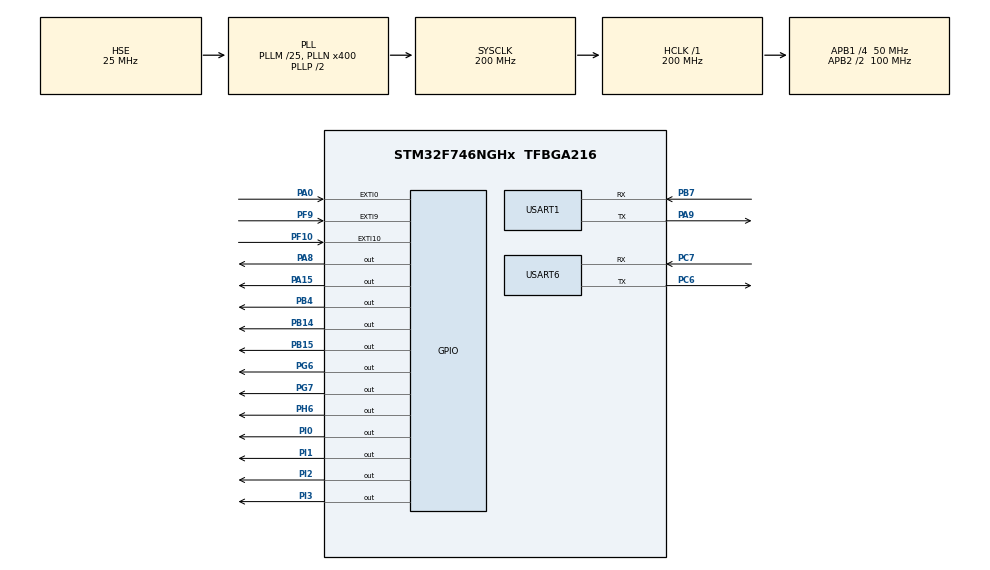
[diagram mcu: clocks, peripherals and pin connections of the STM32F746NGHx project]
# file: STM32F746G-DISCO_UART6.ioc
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CORTEX_M7.ART_ACCLERATOR_ENABLE=0
CORTEX_M7.CPU_DCache=Disabled
CORTEX_M7.CPU_ICache=Disabled
CORTEX_M7.PREFETCH_ENABLE=0
Mcu.Family=STM32F7
Mcu.Name=STM32F746NGHx
Mcu.Package=TFBGA216
NVIC.EXTI0_IRQn=true\:0\:0\:false\:false\:true\:true\:true
NVIC.EXTI15_10_IRQn=true\:0\:0\:false\:false\:true\:true\:true
NVIC.EXTI9_5_IRQn=true\:0\:0\:false\:false\:true\:true\:true
NVIC.PriorityGroup=NVIC_PRIORITYGROUP_4
NVIC.RCC_IRQn=true\:0\:0\:false\:false\:true\:true\:false
NVIC.TIM3_IRQn=true\:0\:0\:false\:false\:true\:true\:true
NVIC.USART1_IRQn=true\:0\:0\:false\:false\:true\:true\:true
NVIC.USART6_IRQn=true\:0\:0\:false\:false\:true\:true\:true
PA0/WKUP.GPIO_PuPd=GPIO_PULLDOWN
PA0/WKUP.Signal=GPXTI0
PA13.Mode=Serial_Wire
PA13.Signal=SYS_JTMS-SWDIO
PA14.Mode=Serial_Wire
PA14.Signal=SYS_JTCK-SWCLK
PA15.Signal=GPIO_Output
PA8.Signal=GPIO_Output
PA9.Mode=Asynchronous
PA9.Signal=USART1_TX
PB14.Signal=GPIO_Output
PB15.Signal=GPIO_Output
PB4.Signal=GPIO_Output
PB7.Mode=Asynchronous
PB7.Signal=USART1_RX
PC6.Mode=Asynchronous
PC6.Signal=USART6_TX
PC7.Mode=Asynchronous
PC7.Signal=USART6_RX
PF10.GPIO_PuPd=GPIO_PULLDOWN
PF10.Signal=GPXTI10
PF9.GPIO_PuPd=GPIO_PULLDOWN
PF9.Signal=GPXTI9
PG6.Signal=GPIO_Output
PG7.Signal=GPIO_Output
PH0/OSC_IN.Mode=HSE-External-Oscillator
PH0/OSC_IN.Signal=RCC_OSC_IN
PH1/OSC_OUT.Mode=HSE-External-Oscillator
PH1/OSC_OUT.Signal=RCC_OSC_OUT
PH6.Signal=GPIO_Output
PI0.Signal=GPIO_Output
PI1.Signal=GPIO_Output
PI2.Signal=GPIO_Output
PI3.Signal=GPIO_Output
ProjectManager.HeapSize=0x200
ProjectManager.StackSize=0x400
ProjectManager.TargetToolchain=STM32CubeIDE
RCC.AHBFreq_Value=200000000
RCC.APB1CLKDivider=RCC_HCLK_DIV4
RCC.APB1Freq_Value=50000000
RCC.APB1TimFreq_Value=100000000
RCC.APB2CLKDivider=RCC_HCLK_DIV2
RCC.APB2Freq_Value=100000000
RCC.APB2TimFreq_Value=200000000
RCC.CortexFreq_Value=200000000
RCC.HCLKFreq_Value=200000000
RCC.HSE_VALUE=25000000
RCC.HSI_VALUE=16000000
RCC.PLL48CLockSelection=RCC_CLK48SOURCE_PLLSAIP
RCC.PLLI2SN=100
RCC.PLLM=25
RCC.PLLN=400
RCC.PLLQ=9
RCC.PLLSAIN=384
RCC.PLLSAIP=RCC_PLLSAIP_DIV8
RCC.PLLSAIR=5
RCC.PLLSAIRDiv=RCC_PLLSAIDIVR_8
RCC.PLLSourceVirtual=RCC_PLLSOURCE_HSE
RCC.SDMMCClockSelection=RCC_SDMMC1CLKSOURCE_CLK48
RCC.SYSCLKFreq_VALUE=200000000
RCC.SYSCLKSource=RCC_SYSCLKSOURCE_PLLCLK
RCC.USBFreq_Value=48000000
RCC.VCOOutputFreq_Value=400000000
TIM3.Period=9999
TIM3.Prescaler=9999
USART1.VirtualMode-Asynchronous=VM_ASYNC
USART6.VirtualMode-Asynchronous=VM_ASYNC
VP_TIM3_VS_ClockSourceINT.Mode=Internal
board=STM32F746G-DISCO

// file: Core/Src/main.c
/* USER CODE BEGIN Header */
/**
  ******************************************************************************
  * @file           : main.c
  * @brief          : Main program body
  ******************************************************************************
  * @attention
  *
  * <h2><center>&copy; Copyright (c) 2021 STMicroelectronics.
  * All rights reserved.</center></h2>
  *
  * This software component is licensed by ST under Ultimate Liberty license
  * SLA0044, the "License"; You may not use this file except in compliance with
  * the License. You may obtain a copy of the License at:
  *                             www.st.com/SLA0044
  *
  ******************************************************************************
  */
/* USER CODE END Header */
#include "main.h"
#include <stdio.h>

TIM_HandleTypeDef htim3;

UART_HandleTypeDef huart1;
UART_HandleTypeDef huart6;

/* USER CODE BEGIN PV */
uint8_t rx1_data;
uint8_t rx6_data;
unsigned char UART_Text_Input[7] = "Input: ";
unsigned char UART6_Text_Input[8] = "Input6: ";
unsigned char UART_Text_Time[7] = "Time: ";
unsigned char UART_Text_Error[5] = "ERROR";
unsigned char UART1_Text_Start[59] = "This is Uart 1\n\r";
unsigned char UART6_Text_Start[59] = "This is Uart 6\n\r";
unsigned char Enter[2] = "\n\r";
/* USER CODE END PV */

void SystemClock_Config(void);
static void MX_GPIO_Init(void);
static void MX_TIM3_Init(void);
static void MX_USART1_UART_Init(void);
static void MX_USART6_UART_Init(void);

/* USER CODE BEGIN 0 */
unsigned int Loop_Count = 0;
unsigned char Arduino_Time_Count = 0;
void Int_To_Str(int num, unsigned char *data);
unsigned char UART1_Input = 0;
unsigned char UART6_Input = 0; // 인터럽트 입력 여부 구별
unsigned short input = 0; //인풋///////////////////////////////////////////////////////////////////
unsigned char addr[4] = { 0, 0, 0, 0 };

void Line_Change1(void) {
	for(int i = 0; i<3; i++){
		HAL_UART_Transmit(&huart1, &Enter[i], 1, 10);
	}

}

void Line_Change6(void) {
	for(int i = 0; i<3; i++){
		HAL_UART_Transmit(&huart6, &Enter[i], 1, 10);
	}

}

void UART6_Start(void) {
	for (int i = 0; i <16; i++) {
		HAL_UART_Transmit(&huart6, &UART6_Text_Start[i], 1, 10);
	}
	Line_Change6();
}
void UART1_Start(void) {
	for (int i = 0; i <16; i++) {
		HAL_UART_Transmit(&huart1, &UART1_Text_Start[i], 1, 10);
	}
	Line_Change1();
}

void UART6_Print() {
/*
	for (int i = 0; i < 7; i++) {//uart6 input 출력
		HAL_UART_Transmit(&huart6, &UART_Text_Input[i], 1, 10);
	}
	HAL_UART_Transmit(&huart6, &rx6_data, 1, 10);
	Line_Change6();
*/

	for (int i = 0; i < 8; i++) {//uart6 입력 uart1 에 출력
		HAL_UART_Transmit(&huart1, &UART6_Text_Input[i], 1, 10);
	}
	HAL_UART_Transmit(&huart1, &rx6_data, 1, 10);
	Line_Change1();

}

void UART1_Print() {
	if (rx1_data == 84 || rx1_data == 116) { //UART 입력이 T 또는 t인경우 실행
		for (int i = 0; i < 7; i++) {
			HAL_UART_Transmit(&huart1, &UART_Text_Input[i], 1, 10);
		}
		HAL_UART_Transmit(&huart1, &rx1_data, 1, 10);
		Line_Change1();

		for (int i = 0; i < 7; i++) {
			HAL_UART_Transmit(&huart1, &UART_Text_Time[i], 1, 10);
		}

		unsigned char tmplist[4];

		for (int i = 0; i < 4; i++) {
			tmplist[i] = addr[i] + 48;
			HAL_UART_Transmit(&huart1, &tmplist[i], 1, 10);
		}
		Line_Change1();

	} else {
		for (int i = 0; i < 7; i++) {
			HAL_UART_Transmit(&huart1, &UART_Text_Input[i], 1, 10);
		}
		HAL_UART_Transmit(&huart1, &rx1_data, 1, 10);
		Line_Change1();
	}

}

void UART6_Call_Arduino() {

	if (Arduino_Time_Count == 10){
		HAL_GPIO_WritePin(GPIOI, GPIO_PIN_1, 1);
		HAL_UART_Transmit(&huart6, &"h", 1, 10);
		Line_Change6();
		HAL_Delay(1);

		HAL_GPIO_WritePin(GPIOI, GPIO_PIN_1, 0);
		Arduino_Time_Count = Arduino_Time_Count + 1;
	}

	if (Arduino_Time_Count == 20){
		HAL_GPIO_WritePin(GPIOI, GPIO_PIN_1, 1);
		HAL_UART_Transmit(&huart6, &"d", 1, 10);
		Line_Change6();
		HAL_Delay(1);
		HAL_GPIO_WritePin(GPIOI, GPIO_PIN_1, 0);
		Arduino_Time_Count = Arduino_Time_Count + 1;
	}

	if (Arduino_Time_Count == 30){
		HAL_GPIO_WritePin(GPIOI, GPIO_PIN_1, 1);
		HAL_UART_Transmit(&huart6, &"t", 1, 10);
		Line_Change6();
		HAL_Delay(1);
		HAL_GPIO_WritePin(GPIOI, GPIO_PIN_1, 0);
		Arduino_Time_Count = Arduino_Time_Count + 1;
	}

	if (Arduino_Time_Count == 40){
		HAL_GPIO_WritePin(GPIOI, GPIO_PIN_1, 1);
		HAL_UART_Transmit(&huart6, &"c", 1, 10);
		Line_Change6();
		HAL_Delay(1);
		HAL_GPIO_WritePin(GPIOI, GPIO_PIN_1, 0);
		Arduino_Time_Count = 0;
	}

}

int rcnt;
void HAL_UART_RxCpltCallback(UART_HandleTypeDef *huart) {
	if (huart->Instance == USART1) {
		HAL_UART_Receive_IT(&huart1, &rx1_data, 1);
		UART1_Input = 1;

	}

	if (huart->Instance == USART6) {
		HAL_UART_Receive_IT(&huart6, &rx6_data, 1);
		//HAL_UART_Transmit(&huart1, &rx6_data, 1, 10);
		UART6_Input = 1;
		rcnt++;
	}

}

void HAL_TIM_PeriodElapsedCallback(TIM_HandleTypeDef *htim) //타이머 인터럽트 코드
{
	if (htim->Instance == TIM3) {

		input = input + 1;
		Arduino_Time_Count = Arduino_Time_Count + 1;
	}
}

void Num_Select(unsigned char PrintNumx16) {
	if (PrintNumx16 & 0x40) {
		HAL_GPIO_WritePin(GPIOI, GPIO_PIN_2, 1);
	} else {
		HAL_GPIO_WritePin(GPIOI, GPIO_PIN_2, 0);
	}
	if (PrintNumx16 & 0x20) {
		HAL_GPIO_WritePin(GPIOI, GPIO_PIN_3, 1);
	} else {
		HAL_GPIO_WritePin(GPIOI, GPIO_PIN_3, 0);
	}
	if (PrintNumx16 & 0x10) {
		HAL_GPIO_WritePin(GPIOH, GPIO_PIN_6, 1);
	} else {
		HAL_GPIO_WritePin(GPIOH, GPIO_PIN_6, 0);
	}
	if (PrintNumx16 & 0x08) {
		HAL_GPIO_WritePin(GPIOI, GPIO_PIN_0, 1);
	} else {
		HAL_GPIO_WritePin(GPIOI, GPIO_PIN_0, 0);
	}
	if (PrintNumx16 & 0x04) {
		HAL_GPIO_WritePin(GPIOG, GPIO_PIN_7, 1);
	} else {
		HAL_GPIO_WritePin(GPIOG, GPIO_PIN_7, 0);
	}
	if (PrintNumx16 & 0x02) {
		HAL_GPIO_WritePin(GPIOB, GPIO_PIN_4, 1);
	} else {
		HAL_GPIO_WritePin(GPIOB, GPIO_PIN_4, 0);
	}
	if (PrintNumx16 & 0x01) {
		HAL_GPIO_WritePin(GPIOG, GPIO_PIN_6, 1);
	} else {
		HAL_GPIO_WritePin(GPIOG, GPIO_PIN_6, 0);
	}

}

void Segment_Select(unsigned char SegmentNumx16, unsigned char PrintNumx16) {
	//출력할 세그먼트 결정

	if (SegmentNumx16 & 0x08) {
		HAL_GPIO_WritePin(GPIOB, GPIO_PIN_14, 1);
	} else {
		HAL_GPIO_WritePin(GPIOB, GPIO_PIN_14, 0);
	}
	if (SegmentNumx16 & 0x04) {
		HAL_GPIO_WritePin(GPIOB, GPIO_PIN_15, 1);
	} else {
		HAL_GPIO_WritePin(GPIOB, GPIO_PIN_15, 0);
	}
	if (SegmentNumx16 & 0x02) {
		HAL_GPIO_WritePin(GPIOA, GPIO_PIN_8, 1);
	} else {
		HAL_GPIO_WritePin(GPIOA, GPIO_PIN_8, 0);
	}
	if (SegmentNumx16 & 0x01) {
		HAL_GPIO_WritePin(GPIOA, GPIO_PIN_15, 1);
	} else {
		HAL_GPIO_WritePin(GPIOA, GPIO_PIN_15, 0);
	}
	Num_Select(PrintNumx16);

}

void Segment_Test(unsigned short delaytime) {
	HAL_GPIO_WritePin(GPIOA, GPIO_PIN_15, 1);
	HAL_Delay(delaytime);
	HAL_GPIO_WritePin(GPIOA, GPIO_PIN_15, 0);
	HAL_GPIO_WritePin(GPIOA, GPIO_PIN_8, 1);
	HAL_Delay(delaytime);
	HAL_GPIO_WritePin(GPIOA, GPIO_PIN_8, 0);
	HAL_GPIO_WritePin(GPIOB, GPIO_PIN_15, 1);
	HAL_Delay(delaytime);
	HAL_GPIO_WritePin(GPIOB, GPIO_PIN_15, 0);
	HAL_GPIO_WritePin(GPIOB, GPIO_PIN_14, 1);
	HAL_Delay(delaytime);
	HAL_GPIO_WritePin(GPIOB, GPIO_PIN_14, 0);

}
int _write(int file, char *p, int len) { //printf 사용시 실행
	HAL_UART_Transmit(&huart1, p, len, 100);
	return len;
}
/* USER CODE END 0 */

int main(void)
{

  /* Enable I-Cache---------------------------------------------------------*/
  SCB_EnableICache();

  /* Enable D-Cache---------------------------------------------------------*/
  SCB_EnableDCache();

  /* MCU Configuration--------------------------------------------------------*/

  /* Reset of all peripherals, Initializes the Flash interface and the Systick. */
  HAL_Init();

  /* Configure the system clock */
  SystemClock_Config();

  /* Initialize all configured peripherals */
  MX_GPIO_Init();
  MX_TIM3_Init();
  MX_USART1_UART_Init();
  MX_USART6_UART_Init();
  /* USER CODE BEGIN 2 */
  HAL_TIM_Base_Start_IT(&htim3); // 타이머 인터럽트 시작 디버그 할경우 주석처리 해야함
  HAL_UART_Receive_IT(&huart6, &rx6_data, 1); // UART인터럽트 한바이트 들어오면 시작
  HAL_UART_Receive_IT(&huart1, &rx1_data, 1); // UART인터럽트 한바이트 들어오면 시작
  unsigned char List_Of_Segments[4] = { 0x01, 0x02, 0x04, 0x08 };
  unsigned char List_Of_Segment_Info[10] = { 0xC0, 0xF9, 0xA4, 0xB0, 0x99,
		  0x92, 0x82, 0xD8, 0x80, 0x98 };
  unsigned short delaytime = 1;
  UART1_Start();
  UART6_Start();
  /* USER CODE END 2 */

  /* Infinite loop */
  /* USER CODE BEGIN WHILE */
  while (1)
  {

	  Loop_Count++;

	  if (input % 100 == 60) {
		input += 100;
		input -= 60;
	  }

	  if (input > 2359) {
		input = 0;
	  }

	  addr[0] = input / 1000;
	  addr[1] = input % 1000 / 100;
	  addr[2] = input % 100 / 10;
	  addr[3] = input % 10;
/*
	  for (int i = 0; i<4; i++){
		  Segment_Select(List_Of_Segments[i], List_Of_Segment_Info[addr[i]]);
		  HAL_Delay(delaytime);
	  }
*/

	  if (UART6_Input == 1) {
		UART6_Print();
		UART6_Input = 0;
		rcnt=0;
	  }

	  if (Arduino_Time_Count % 10 == 0){
		UART6_Call_Arduino();
	  }

	  if (UART1_Input == 1) {
		UART1_Print();
		UART1_Input = 0;

	  }

    /* USER CODE END WHILE */
  }
}

void SystemClock_Config(void)
{
  RCC_OscInitTypeDef RCC_OscInitStruct = {0};
  RCC_ClkInitTypeDef RCC_ClkInitStruct = {0};
  RCC_PeriphCLKInitTypeDef PeriphClkInitStruct = {0};

  /** Configure the main internal regulator output voltage
  */
  __HAL_RCC_PWR_CLK_ENABLE();
  __HAL_PWR_VOLTAGESCALING_CONFIG(PWR_REGULATOR_VOLTAGE_SCALE1);
  /** Initializes the RCC Oscillators according to the specified parameters
  * in the RCC_OscInitTypeDef structure.
  */
  RCC_OscInitStruct.OscillatorType = RCC_OSCILLATORTYPE_HSE;
  RCC_OscInitStruct.HSEState = RCC_HSE_ON;
  RCC_OscInitStruct.PLL.PLLState = RCC_PLL_ON;
  RCC_OscInitStruct.PLL.PLLSource = RCC_PLLSOURCE_HSE;
  RCC_OscInitStruct.PLL.PLLM = 25;
  RCC_OscInitStruct.PLL.PLLN = 400;
  RCC_OscInitStruct.PLL.PLLP = RCC_PLLP_DIV2;
  RCC_OscInitStruct.PLL.PLLQ = 9;
  if (HAL_RCC_OscConfig(&RCC_OscInitStruct) != HAL_OK)
  {
    Error_Handler();
  }
  /** Activate the Over-Drive mode
  */
  if (HAL_PWREx_EnableOverDrive() != HAL_OK)
  {
    Error_Handler();
  }
  /** Initializes the CPU, AHB and APB buses clocks
  */
  RCC_ClkInitStruct.ClockType = RCC_CLOCKTYPE_HCLK|RCC_CLOCKTYPE_SYSCLK
                              |RCC_CLOCKTYPE_PCLK1|RCC_CLOCKTYPE_PCLK2;
  RCC_ClkInitStruct.SYSCLKSource = RCC_SYSCLKSOURCE_PLLCLK;
  RCC_ClkInitStruct.AHBCLKDivider = RCC_SYSCLK_DIV1;
  RCC_ClkInitStruct.APB1CLKDivider = RCC_HCLK_DIV4;
  RCC_ClkInitStruct.APB2CLKDivider = RCC_HCLK_DIV2;

  if (HAL_RCC_ClockConfig(&RCC_ClkInitStruct, FLASH_LATENCY_6) != HAL_OK)
  {
    Error_Handler();
  }
  PeriphClkInitStruct.PeriphClockSelection = RCC_PERIPHCLK_USART1|RCC_PERIPHCLK_USART6;
  PeriphClkInitStruct.Usart1ClockSelection = RCC_USART1CLKSOURCE_PCLK2;
  PeriphClkInitStruct.Usart6ClockSelection = RCC_USART6CLKSOURCE_PCLK2;
  if (HAL_RCCEx_PeriphCLKConfig(&PeriphClkInitStruct) != HAL_OK)
  {
    Error_Handler();
  }
}

static void MX_TIM3_Init(void)
{

  TIM_ClockConfigTypeDef sClockSourceConfig = {0};
  TIM_MasterConfigTypeDef sMasterConfig = {0};

  htim3.Instance = TIM3;
  htim3.Init.Prescaler = 9999;
  htim3.Init.CounterMode = TIM_COUNTERMODE_UP;
  htim3.Init.Period = 9999;
  htim3.Init.ClockDivision = TIM_CLOCKDIVISION_DIV1;
  htim3.Init.AutoReloadPreload = TIM_AUTORELOAD_PRELOAD_DISABLE;
  if (HAL_TIM_Base_Init(&htim3) != HAL_OK)
  {
    Error_Handler();
  }
  sClockSourceConfig.ClockSource = TIM_CLOCKSOURCE_INTERNAL;
  if (HAL_TIM_ConfigClockSource(&htim3, &sClockSourceConfig) != HAL_OK)
  {
    Error_Handler();
  }
  sMasterConfig.MasterOutputTrigger = TIM_TRGO_RESET;
  sMasterConfig.MasterSlaveMode = TIM_MASTERSLAVEMODE_DISABLE;
  if (HAL_TIMEx_MasterConfigSynchronization(&htim3, &sMasterConfig) != HAL_OK)
  {
    Error_Handler();
  }

}

static void MX_USART1_UART_Init(void)
{

  huart1.Instance = USART1;
  huart1.Init.BaudRate = 9600;
  huart1.Init.WordLength = UART_WORDLENGTH_8B;
  huart1.Init.StopBits = UART_STOPBITS_1;
  huart1.Init.Parity = UART_PARITY_NONE;
  huart1.Init.Mode = UART_MODE_TX_RX;
  huart1.Init.HwFlowCtl = UART_HWCONTROL_NONE;
  huart1.Init.OverSampling = UART_OVERSAMPLING_16;
  huart1.Init.OneBitSampling = UART_ONE_BIT_SAMPLE_DISABLE;
  huart1.AdvancedInit.AdvFeatureInit = UART_ADVFEATURE_NO_INIT;
  if (HAL_UART_Init(&huart1) != HAL_OK)
  {
    Error_Handler();
  }

}

static void MX_USART6_UART_Init(void)
{

  huart6.Instance = USART6;
  huart6.Init.BaudRate = 9600;
  huart6.Init.WordLength = UART_WORDLENGTH_8B;
  huart6.Init.StopBits = UART_STOPBITS_1;
  huart6.Init.Parity = UART_PARITY_NONE;
  huart6.Init.Mode = UART_MODE_TX_RX;
  huart6.Init.HwFlowCtl = UART_HWCONTROL_NONE;
  huart6.Init.OverSampling = UART_OVERSAMPLING_16;
  huart6.Init.OneBitSampling = UART_ONE_BIT_SAMPLE_DISABLE;
  huart6.AdvancedInit.AdvFeatureInit = UART_ADVFEATURE_NO_INIT;
  if (HAL_UART_Init(&huart6) != HAL_OK)
  {
    Error_Handler();
  }

}

static void MX_GPIO_Init(void)
{
  GPIO_InitTypeDef GPIO_InitStruct = {0};

  /* GPIO Ports Clock Enable */
  __HAL_RCC_GPIOB_CLK_ENABLE();
  __HAL_RCC_GPIOA_CLK_ENABLE();
  __HAL_RCC_GPIOI_CLK_ENABLE();
  __HAL_RCC_GPIOH_CLK_ENABLE();
  __HAL_RCC_GPIOC_CLK_ENABLE();
  __HAL_RCC_GPIOG_CLK_ENABLE();
  __HAL_RCC_GPIOF_CLK_ENABLE();

  /*Configure GPIO pin Output Level */
  HAL_GPIO_WritePin(GPIOB, GPIO_PIN_4|GPIO_PIN_14|GPIO_PIN_15, GPIO_PIN_RESET);

  /*Configure GPIO pin Output Level */
  HAL_GPIO_WritePin(GPIOA, GPIO_PIN_15|GPIO_PIN_8, GPIO_PIN_RESET);

  /*Configure GPIO pin Output Level */
  HAL_GPIO_WritePin(GPIOI, GPIO_PIN_3|GPIO_PIN_2|GPIO_PIN_1|GPIO_PIN_0, GPIO_PIN_RESET);

  /*Configure GPIO pin Output Level */
  HAL_GPIO_WritePin(GPIOG, GPIO_PIN_7|GPIO_PIN_6, GPIO_PIN_RESET);

  /*Configure GPIO pin Output Level */
  HAL_GPIO_WritePin(GPIOH, GPIO_PIN_6, GPIO_PIN_RESET);

  /*Configure GPIO pins : PB4 PB14 PB15 */
  GPIO_InitStruct.Pin = GPIO_PIN_4|GPIO_PIN_14|GPIO_PIN_15;
  GPIO_InitStruct.Mode = GPIO_MODE_OUTPUT_PP;
  GPIO_InitStruct.Pull = GPIO_NOPULL;
  GPIO_InitStruct.Speed = GPIO_SPEED_FREQ_LOW;
  HAL_GPIO_Init(GPIOB, &GPIO_InitStruct);

  /*Configure GPIO pins : PA15 PA8 */
  GPIO_InitStruct.Pin = GPIO_PIN_15|GPIO_PIN_8;
  GPIO_InitStruct.Mode = GPIO_MODE_OUTPUT_PP;
  GPIO_InitStruct.Pull = GPIO_NOPULL;
  GPIO_InitStruct.Speed = GPIO_SPEED_FREQ_LOW;
  HAL_GPIO_Init(GPIOA, &GPIO_InitStruct);

  /*Configure GPIO pins : PI3 PI2 PI1 PI0 */
  GPIO_InitStruct.Pin = GPIO_PIN_3|GPIO_PIN_2|GPIO_PIN_1|GPIO_PIN_0;
  GPIO_InitStruct.Mode = GPIO_MODE_OUTPUT_PP;
  GPIO_InitStruct.Pull = GPIO_NOPULL;
  GPIO_InitStruct.Speed = GPIO_SPEED_FREQ_LOW;
  HAL_GPIO_Init(GPIOI, &GPIO_InitStruct);

  /*Configure GPIO pins : PG7 PG6 */
  GPIO_InitStruct.Pin = GPIO_PIN_7|GPIO_PIN_6;
  GPIO_InitStruct.Mode = GPIO_MODE_OUTPUT_PP;
  GPIO_InitStruct.Pull = GPIO_NOPULL;
  GPIO_InitStruct.Speed = GPIO_SPEED_FREQ_LOW;
  HAL_GPIO_Init(GPIOG, &GPIO_InitStruct);

  /*Configure GPIO pins : PF10 PF9 */
  GPIO_InitStruct.Pin = GPIO_PIN_10|GPIO_PIN_9;
  GPIO_InitStruct.Mode = GPIO_MODE_IT_RISING;
  GPIO_InitStruct.Pull = GPIO_PULLDOWN;
  HAL_GPIO_Init(GPIOF, &GPIO_InitStruct);

  /*Configure GPIO pin : PA0 */
  GPIO_InitStruct.Pin = GPIO_PIN_0;
  GPIO_InitStruct.Mode = GPIO_MODE_IT_RISING;
  GPIO_InitStruct.Pull = GPIO_PULLDOWN;
  HAL_GPIO_Init(GPIOA, &GPIO_InitStruct);

  /*Configure GPIO pin : PH6 */
  GPIO_InitStruct.Pin = GPIO_PIN_6;
  GPIO_InitStruct.Mode = GPIO_MODE_OUTPUT_PP;
  GPIO_InitStruct.Pull = GPIO_NOPULL;
  GPIO_InitStruct.Speed = GPIO_SPEED_FREQ_LOW;
  HAL_GPIO_Init(GPIOH, &GPIO_InitStruct);

  /* EXTI interrupt init*/
  HAL_NVIC_SetPriority(EXTI0_IRQn, 0, 0);
  HAL_NVIC_EnableIRQ(EXTI0_IRQn);

  HAL_NVIC_SetPriority(EXTI9_5_IRQn, 0, 0);
  HAL_NVIC_EnableIRQ(EXTI9_5_IRQn);

  HAL_NVIC_SetPriority(EXTI15_10_IRQn, 0, 0);
  HAL_NVIC_EnableIRQ(EXTI15_10_IRQn);

}

void Error_Handler(void)
{
  __disable_irq();
  while (1)
  {
  }
}

/************************ (C) COPYRIGHT STMicroelectronics *****END OF FILE****/
